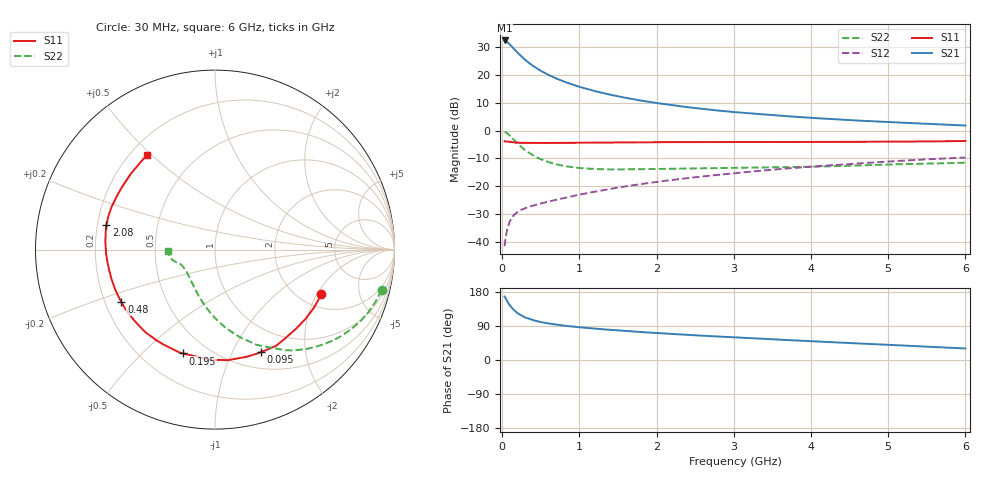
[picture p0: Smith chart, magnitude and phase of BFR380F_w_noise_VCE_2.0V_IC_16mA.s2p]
! Infineon Technologies  Discrete & RF Semiconductors
! BFR380F
! VCE =  2.0 V,  IC =  16 mA
! Common Emitter S-Parameters:  Nov 2015
# GHz  S  MA  R  50
!  f  S11  S21  S12  S22
! GHz  MAG  ANG  MAG  ANG  MAG  ANG  MAG  ANG
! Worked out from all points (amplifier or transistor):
!   206 points, 30 MHz to 6 GHz, reference 50 ohm
!   highest |S21| = 32.4 dB at 30 MHz (marker M1)
!   |S21| within 3 dB of that: start of sweep to 150.9 MHz
!   unconditionally stable (mu >= 1): 1.446 GHz to 5.23 GHz
!   at 200 MHz: K = 0.33, MSG = 28.6 dB, |S12| = -29.2 dB
!   at 1.56 GHz: K = 1.01, MAG = 15.4 dB, |S12| = -20.3 dB
!   at 6 GHz: K = 0.99, MSG = 5.8 dB, |S12| = -9.7 dB
!   lowest NFmin = 0.97 dB at 900 MHz
!   S11 on the Smith chart (normalised r, x): 30 MHz: 2.57, -2.19; 95 MHz: 0.69, -1.30; 195 MHz: 0.37, -0.67; 480 MHz: 0.27, -0.24; 2.08 GHz: 0.24, +0.10; 6 GHz: 0.27, +0.48
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0.03  0.6433 -22.8  41.92 167.7  0.0083 80.4  0.9552 -13.7
0.05  0.6353 -37.5  40.73 159.6  0.0133 75.2  0.923 -22.3
0.07  0.6302 -51.3  38.7 152.7  0.0178 69.4  0.8786 -30.3
0.095  0.6255 -65.9  35.84 145.2  0.0226 63.9  0.816 -39.3
0.11  0.6227 -73.7  34.13 141.0  0.025 61.0  0.7778 -44.2
0.14  0.6153 -87.6  30.8 134.0  0.029 56.5  0.7048 -52.8
0.15  0.616 -91.8  29.77 131.8  0.0301 55.3  0.6818 -55.3
0.195  0.6054 -107.1  25.5 124.1  0.0341 51.3  0.5893 -65.0
0.24  0.6018 -118.5  22.14 118.3  0.0371 48.9  0.5165 -73.0
0.3  0.602 -130.4  18.58 112.0  0.0403 47.4  0.4408 -82.1
0.4  0.599 -143.4  14.54 104.9  0.0446 47.3  0.3577 -93.5
0.48  0.5984 -150.7  12.36 101.0  0.0479 48.1  0.3141 -100.8
0.6  0.5989 -158.6  10.02 96.3  0.0527 50.1  0.2705 -110.2
0.7  0.5999 -163.6  8.652 93.3  0.0569 51.9  0.2472 -116.6
1.04  0.6043 -174.8  5.91 85.6  0.072 56.8  0.2099 -133.0
1.4  0.6105 177.5  4.413 79.5  0.0892 60.1  0.2005 -144.0
2.02  0.6194 168.1  3.104 71.0  0.1201 62.6  0.2037 -153.1
2.08  0.6196 167.4  3.024 70.3  0.1231 62.8  0.2044 -153.7
3.1  0.6227 156.4  2.1 58.8  0.176 62.8  0.2144 -159.2
4.1  0.6245 145.9  1.663 48.5  0.2295 60.1  0.2249 -161.3
5.1  0.6323 136.3  1.404 39.1  0.2822 56.4  0.247 -167.6
6  0.6489 126.0  1.233 30.4  0.3276 51.7  0.2636 -178.4
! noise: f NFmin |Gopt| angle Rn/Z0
0.45  0.99  0.14  165  0.08
0.9  0.97  0.22  162  0.08
1.8  1.22  0.33  179  0.07
1.9  1.29  0.33  -180  0.07
2.4  1.4  0.38  -168  0.08
3.5  1.99  0.48  -155  0.12
